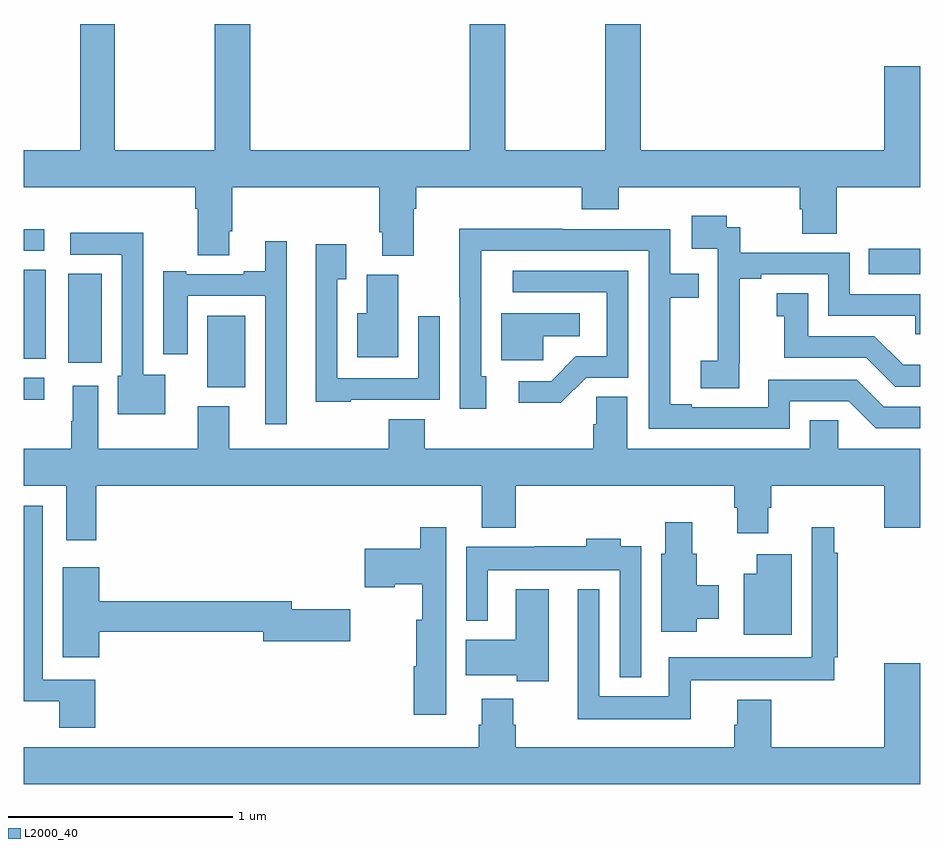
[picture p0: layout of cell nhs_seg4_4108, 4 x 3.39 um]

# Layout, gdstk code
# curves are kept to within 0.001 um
import gdstk
lib = gdstk.Library(unit=1e-6, precision=1e-09)
def R(c, l, rs):  # rectangles x0, y0, x1, y1
    for r in rs: c.add(gdstk.rectangle(r[:2], r[2:], *l))
def P(c, l, *ps):  # polygons
    for p in ps: c.add(gdstk.Polygon(p, *l))
L2000_40 = (2000, 40)

nhs_seg4_4108 = lib.new_cell('nhs_seg4_4108')
R(nhs_seg4_4108, L2000_40, [(329,777.223,329.092,777.321), (329.819,777.278,329.989,777.598), (329.198,777.387,329.347,777.785), (329,777.406,329.098,777.803), (332.77,777.783,333,777.898), (329,777.888,329.092,777.984)])
P(nhs_seg4_4108, L2000_40, [(331.655,778.172),(332.462,778.172),(332.462,778.074),(332.474,778.074),(332.474,777.964),(332.627,777.964),(332.627,778.172),(333,778.172),(333,778.711),(332.84,778.711),(332.84,778.336),(331.754,778.336),(331.754,778.9),(331.594,778.9),(331.594,778.336),(331.149,778.336),(331.149,778.9),(330.989,778.9),(330.989,778.336),(330.011,778.336),(330.011,778.9),(329.851,778.9),(329.851,778.336),(329.406,778.336),(329.406,778.9),(329.251,778.9),(329.251,778.336),(329,778.336),(329,778.172),(329.765,778.172),(329.765,778.076),(329.777,778.076),(329.777,777.868),(329.917,777.868),(329.917,777.976),(329.93,777.976),(329.93,778.172),(330.587,778.172),(330.587,777.97),(330.599,777.97),(330.599,777.865),(330.739,777.865),(330.739,778.076),(330.752,778.076),(330.752,778.172),(331.49,778.172),(331.49,778.073),(331.655,778.073)],
  [(332.192,777.385),(332.194,777.385),(332.194,777.763),(332.29,777.763),(332.29,777.783),(332.589,777.783),(332.589,777.597),(332.979,777.597),(332.979,777.516),(333,777.516),(333,777.693),(332.685,777.693),(332.685,777.879),(332.198,777.879),(332.198,777.993),(332.136,777.993),(332.136,778.045),(331.98,778.045),(331.98,777.897),(332.097,777.897),(332.097,777.593),(332.096,777.593),(332.096,777.396),(332.022,777.396),(332.022,777.274),(332.192,777.274)],
  [(332.418,777.216),(332.682,777.216),(332.802,777.096),(333,777.096),(333,777.192),(332.838,777.192),(332.718,777.312),(332.322,777.312),(332.322,777.189),(331.981,777.189),(331.981,777.204),(331.885,777.204),(331.885,777.678),(332.012,777.678),(332.012,777.786),(331.884,777.786),(331.884,777.984),(331.406,777.984),(331.406,777.986),(330.944,777.986),(330.945,777.183),(331.063,777.183),(331.063,777.327),(331.041,777.327),(331.041,777.888),(331.788,777.888),(331.788,777.093),(332.418,777.093)],
  [(329.632,777.334),(329.532,777.334),(329.532,777.968),(329.208,777.968),(329.208,777.87),(329.436,777.87),(329.436,777.33),(329.42,777.33),(329.42,777.158),(329.632,777.158)],
  [(330.174,777.931),(330.077,777.931),(330.077,777.796),(329.981,777.796),(329.981,777.783),(329.725,777.783),(329.725,777.796),(329.621,777.796),(329.621,777.426),(329.731,777.426),(329.731,777.687),(330.078,777.687),(330.078,777.114),(330.174,777.114)],
  [(330.459,777.222),(330.855,777.222),(330.855,777.595),(330.759,777.595),(330.759,777.318),(330.399,777.318),(330.399,777.76),(330.439,777.76),(330.439,777.916),(330.303,777.916),(330.303,777.215),(330.459,777.215)],
  [(331.509,777.321),(331.698,777.321),(331.698,777.798),(331.182,777.798),(331.182,777.702),(331.602,777.702),(331.602,777.417),(331.464,777.417),(331.353,777.306),(331.209,777.306),(331.209,777.209),(331.396,777.209)],
  [(330.67,777.78),(330.53,777.78),(330.53,777.61),(330.488,777.61),(330.488,777.413),(330.67,777.413)],
  [(333,777.379),(332.924,777.379),(332.796,777.507),(332.5,777.507),(332.5,777.698),(332.36,777.698),(332.36,777.595),(332.393,777.595),(332.393,777.411),(332.76,777.411),(332.889,777.282),(333,777.282)],
  [(331.317,777.506),(331.48,777.506),(331.48,777.61),(331.13,777.61),(331.13,777.399),(331.317,777.399)],
  [(329.324,776.84),(331.043,776.84),(331.043,776.651),(331.196,776.651),(331.196,776.84),(332.171,776.84),(332.171,776.742),(332.183,776.742),(332.183,776.628),(332.323,776.628),(332.323,776.742),(332.336,776.742),(332.336,776.84),(332.84,776.84),(332.84,776.652),(333,776.652),(333,777.004),(332.634,777.004),(332.634,777.131),(332.507,777.131),(332.507,777.004),(331.693,777.004),(331.693,777.236),(331.554,777.236),(331.554,777.113),(331.541,777.113),(331.541,777.004),(330.788,777.004),(330.788,777.137),(330.628,777.137),(330.628,777.004),(329.917,777.004),(329.917,777.193),(329.777,777.193),(329.777,777.004),(329.332,777.004),(329.332,777.286),(329.219,777.286),(329.219,777.128),(329.212,777.128),(329.212,777.004),(329,777.004),(329,776.84),(329.189,776.84),(329.189,776.595),(329.324,776.595)],
  [(329.318,775.974),(329.085,775.974),(329.085,776.749),(329,776.749),(329,775.877),(329.158,775.877),(329.158,775.758),(329.318,775.758)],
  [(332.002,776.246),(332.101,776.246),(332.101,776.394),(332.002,776.394),(332.002,776.535),(331.984,776.535),(331.984,776.677),(331.862,776.677),(331.862,776.535),(331.844,776.535),(331.844,776.187),(332.002,776.187)],
  [(331.976,775.97),(332.616,775.97),(332.616,776.074),(332.633,776.074),(332.633,776.54),(332.616,776.54),(332.616,776.653),(332.517,776.653),(332.517,776.074),(331.878,776.074),(331.878,775.9),(331.569,775.9),(331.569,776.377),(331.472,776.377),(331.472,775.796),(331.976,775.796)],
  [(330.886,776.138),(330.885,776.138),(330.885,776.653),(330.769,776.653),(330.769,776.557),(330.522,776.557),(330.522,776.387),(330.656,776.387),(330.656,776.399),(330.777,776.399),(330.777,776.242),(330.752,776.242),(330.752,776.034),(330.74,776.034),(330.74,775.818),(330.886,775.818)],
  [(331.755,776.569),(331.663,776.569),(331.663,776.602),(331.511,776.602),(331.511,776.569),(331.279,776.569),(331.279,776.566),(330.975,776.566),(330.975,776.237),(331.071,776.237),(331.071,776.462),(331.659,776.462),(331.659,775.985),(331.755,775.985)],
  [(332.428,776.533),(332.27,776.533),(332.27,776.446),(332.213,776.446),(332.213,776.174),(332.428,776.174)],
  [(329.336,776.188),(330.068,776.188),(330.068,776.146),(330.457,776.146),(330.457,776.288),(330.196,776.288),(330.196,776.324),(329.336,776.324),(329.336,776.476),(329.174,776.476),(329.174,776.073),(329.336,776.073)],
  [(331.342,776.377),(331.196,776.377),(331.196,776.152),(330.971,776.152),(330.971,775.994),(331.2,775.994),(331.2,775.967),(331.342,775.967)],
  [(333,776.047),(332.84,776.047),(332.84,775.672),(332.336,775.672),(332.336,775.885),(332.183,775.885),(332.183,775.773),(332.171,775.773),(332.171,775.672),(331.196,775.672),(331.196,775.772),(331.183,775.772),(331.183,775.888),(331.043,775.888),(331.043,775.772),(331.031,775.772),(331.031,775.672),(329,775.672),(329,775.508),(333,775.508)])

lib.write_gds('nhs_seg4_4108.gds')
